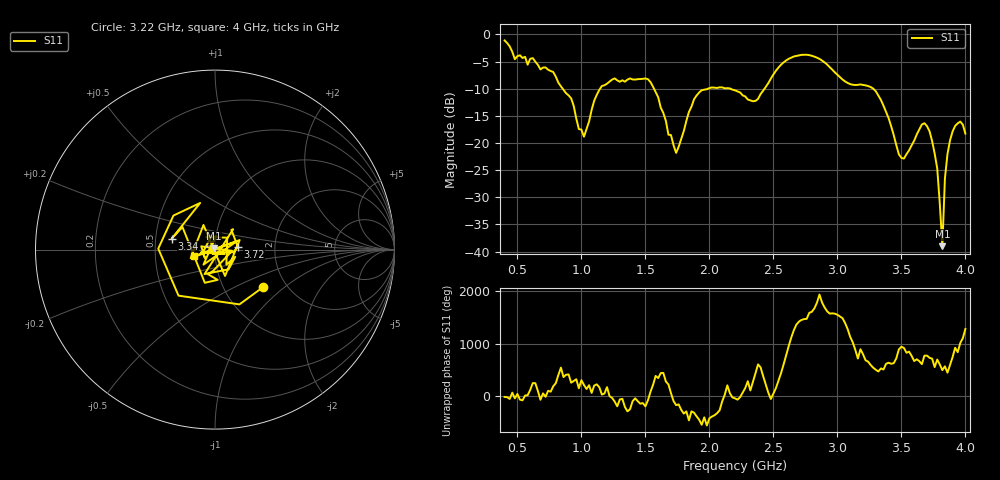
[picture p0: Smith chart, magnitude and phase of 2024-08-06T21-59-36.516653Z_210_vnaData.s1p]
!Created with skrf (http://scikit-rf.org).
# Hz S RI R 50.0
!freq ReS11 ImS11
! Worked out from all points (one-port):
!   181 points, 400 MHz to 4 GHz, reference 50 ohm
!   lowest |S11| = -39.0 dB at 3.82 GHz (marker M1), VSWR 1.02, Z = 49.2 + j0.809 ohm
!   |S11| at or under -10 dB: 853.6 MHz to 1.146 GHz (292.4 MHz wide, 29.2 % of centre); 1.567 GHz to 1.99 GHz (422.8 MHz wide, 23.8 % of centre); 3.28 GHz to end of sweep (the widest 3 of 4)
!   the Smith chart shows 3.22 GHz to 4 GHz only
!   S11 on the Smith chart (normalised r, x): 3.22 GHz: 1.52, -0.72; 3.34 GHz: 0.61, +0.08; 3.72 GHz: 1.29, +0.05; 4 GHz: 0.79, -0.06
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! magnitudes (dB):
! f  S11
! 400 MHz  -1.1
! 480 MHz  -4.6
! 620 MHz  -4.4
! 860 MHz  -10.2
! 1.02 GHz  -18.8
! 1.14 GHz  -10.2
! 1.3 GHz  -8.7
! 1.52 GHz  -8.3
! 1.74 GHz  -21.8
! 1.76 GHz  -20.7
! 1.92 GHz  -10.7
! 2.2 GHz  -10.3
! 2.36 GHz  -12.3
! 2.66 GHz  -4.1
! 2.86 GHz  -4.5
! 3.1 GHz  -9.2
! 3.22 GHz  -9.4
! 3.34 GHz  -12.1
! 3.48 GHz  -22.1
! 3.56 GHz  -21.4
! 3.66 GHz  -16.6
! 3.72 GHz  -17.9
! 3.78 GHz  -24.7
! 3.82 GHz  -39.0
! 3.84 GHz  -26.5
! 3.88 GHz  -19.5
! 3.96 GHz  -16.1
! 4 GHz  -18.3
